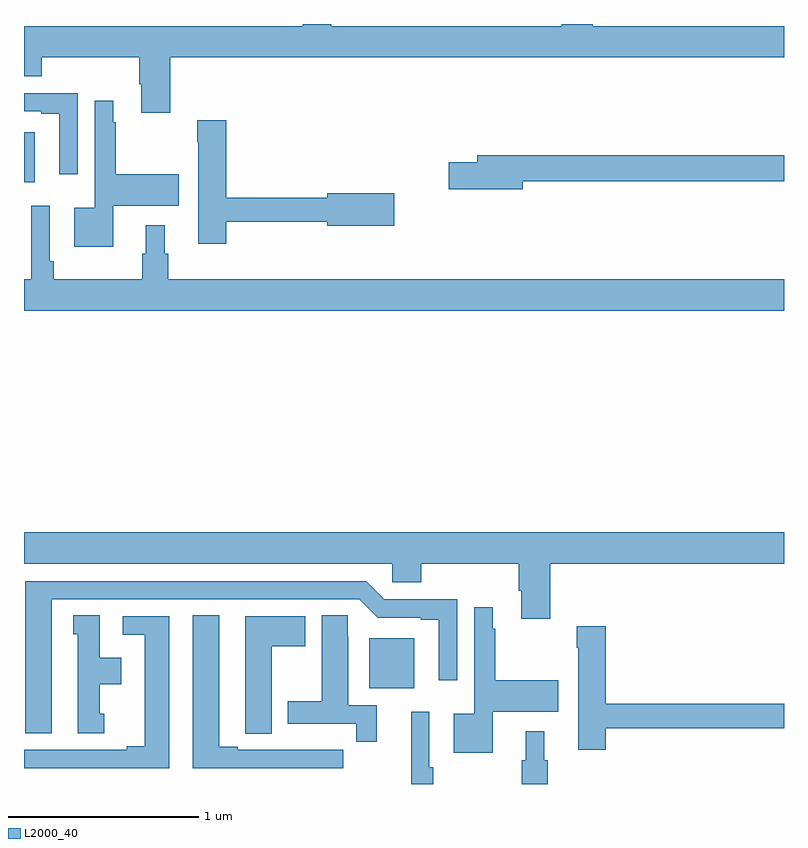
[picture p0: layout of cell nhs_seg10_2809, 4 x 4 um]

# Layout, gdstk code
import gdstk
lib = gdstk.Library(unit=1e-6, precision=1e-09)
def R(c, l, rs):  # rectangles x0, y0, x1, y1
    for r in rs: c.add(gdstk.rectangle(r[:2], r[2:], *l))
def P(c, l, *ps):  # polygons
    for p in ps: c.add(gdstk.Polygon(p, *l))
L2000_40 = (2000, 40)

nhs_seg10_2809 = lib.new_cell('nhs_seg10_2809')
R(nhs_seg10_2809, L2000_40, [(264.818,1289.003,265.054,1289.266), (263,1291.667,263.056,1291.93)])
P(nhs_seg10_2809, L2000_40, [(263.771,1292.324),(267,1292.324),(267,1292.488),(265.994,1292.488),(265.994,1292.5),(265.829,1292.5),(265.829,1292.488),(264.618,1292.488),(264.618,1292.5),(264.467,1292.5),(264.467,1292.488),(263,1292.488),(263,1292.226),(263.093,1292.226),(263.093,1292.324),(263.606,1292.324),(263.606,1292.182),(263.618,1292.182),(263.618,1292.034),(263.771,1292.034)],
  [(263.283,1292.136),(263,1292.136),(263,1292.04),(263.09,1292.04),(263.09,1292.028),(263.186,1292.028),(263.186,1291.71),(263.283,1291.71)],
  [(263.47,1291.544),(263.815,1291.544),(263.815,1291.71),(263.482,1291.71),(263.482,1291.982),(263.47,1291.982),(263.47,1292.095),(263.373,1292.095),(263.373,1291.534),(263.264,1291.534),(263.264,1291.328),(263.47,1291.328)],
  [(264.065,1291.458),(264.596,1291.458),(264.596,1291.439),(264.949,1291.439),(264.949,1291.61),(264.596,1291.61),(264.596,1291.586),(264.065,1291.586),(264.065,1291.993),(263.911,1291.993),(263.911,1291.88),(263.918,1291.88),(263.918,1291.344),(264.065,1291.344)],
  [(265.624,1291.672),(267,1291.672),(267,1291.808),(265.385,1291.808),(265.385,1291.772),(265.236,1291.772),(265.236,1291.63),(265.624,1291.63)],
  [(267,1291.156),(263.759,1291.156),(263.759,1291.29),(263.74,1291.29),(263.74,1291.441),(263.642,1291.441),(263.642,1291.29),(263.623,1291.29),(263.623,1291.156),(263.156,1291.156),(263.156,1291.252),(263.136,1291.252),(263.136,1291.543),(263.039,1291.543),(263.039,1291.156),(263,1291.156),(263,1290.992),(267,1290.992)],
  [(265.769,1289.66),(267,1289.66),(267,1289.824),(263,1289.824),(263,1289.66),(264.939,1289.66),(264.939,1289.562),(265.091,1289.562),(265.091,1289.66),(265.604,1289.66),(265.604,1289.518),(265.616,1289.518),(265.616,1289.37),(265.769,1289.37)],
  [(263.146,1289.472),(264.765,1289.472),(264.861,1289.376),(265.088,1289.376),(265.088,1289.364),(265.184,1289.364),(265.184,1289.046),(265.281,1289.046),(265.281,1289.472),(264.897,1289.472),(264.801,1289.568),(263.006,1289.568),(263.006,1288.767),(263.146,1288.767)],
  [(265.468,1288.88),(265.813,1288.88),(265.813,1289.046),(265.48,1289.046),(265.48,1289.318),(265.468,1289.318),(265.468,1289.431),(265.371,1289.431),(265.371,1288.87),(265.262,1288.87),(265.262,1288.664),(265.468,1288.664)],
  [(263.422,1288.869),(263.398,1288.869),(263.398,1289.024),(263.512,1289.024),(263.512,1289.164),(263.398,1289.164),(263.398,1289.387),(263.258,1289.387),(263.258,1289.289),(263.282,1289.289),(263.282,1288.767),(263.422,1288.767)],
  [(264.679,1288.68),(264.566,1288.68),(264.566,1288.681),(264.4,1288.681),(264.4,1288.68),(264.124,1288.68),(264.124,1288.695),(264.028,1288.695),(264.028,1289.387),(263.888,1289.387),(263.888,1288.584),(264.679,1288.584)],
  [(264.857,1288.914),(264.706,1288.914),(264.706,1289.276),(264.705,1289.276),(264.705,1289.387),(264.566,1289.387),(264.566,1288.935),(264.389,1288.935),(264.389,1288.818),(264.748,1288.818),(264.748,1288.722),(264.857,1288.722)],
  [(264.304,1289.224),(264.481,1289.224),(264.481,1289.383),(264.164,1289.383),(264.164,1288.873),(264.165,1288.873),(264.165,1288.765),(264.304,1288.765)],
  [(263.764,1289.382),(263.52,1289.382),(263.52,1289.286),(263.636,1289.286),(263.636,1288.7),(263.54,1288.7),(263.54,1288.68),(263,1288.68),(263,1288.584),(263.764,1288.584)],
  [(266.063,1288.794),(267,1288.794),(267,1288.922),(266.063,1288.922),(266.063,1289.329),(265.909,1289.329),(265.909,1289.216),(265.916,1289.216),(265.916,1288.68),(266.063,1288.68)],
  [(265.154,1288.588),(265.134,1288.588),(265.134,1288.879),(265.037,1288.879),(265.037,1288.5),(265.154,1288.5)],
  [(265.757,1288.626),(265.738,1288.626),(265.738,1288.777),(265.64,1288.777),(265.64,1288.626),(265.621,1288.626),(265.621,1288.5),(265.757,1288.5)])

lib.write_gds('nhs_seg10_2809.gds')
